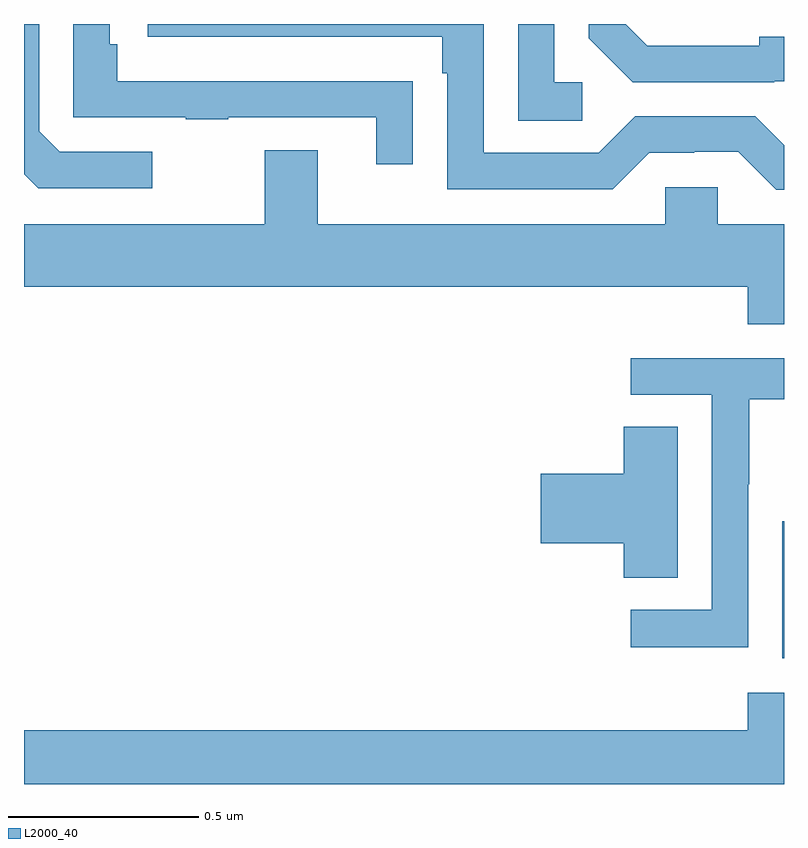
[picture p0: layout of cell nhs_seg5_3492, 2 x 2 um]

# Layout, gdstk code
import gdstk
lib = gdstk.Library(unit=1e-6, precision=1e-09)
def R(c, l, rs):  # rectangles x0, y0, x1, y1
    for r in rs: c.add(gdstk.rectangle(r[:2], r[2:], *l))
def P(c, l, *ps):  # polygons
    for p in ps: c.add(gdstk.Polygon(p, *l))
L2000_40 = (2000, 40)

nhs_seg5_3492 = lib.new_cell('nhs_seg5_3492')
R(nhs_seg5_3492, L2000_40, [(159.995,841.13,160,841.491)])
P(nhs_seg5_3492, L2000_40, [(159.469,842.646),(159.396,842.646),(159.396,842.799),(159.3,842.799),(159.3,842.545),(159.469,842.545)],
  [(159.023,842.648),(158.921,842.648),(158.921,842.649),(158.246,842.649),(158.246,842.746),(158.226,842.746),(158.226,842.799),(158.13,842.799),(158.13,842.553),(158.425,842.553),(158.425,842.548),(158.537,842.548),(158.537,842.553),(158.927,842.553),(158.927,842.43),(159.023,842.43)],
  [(158.338,842.463),(158.094,842.463),(158.04,842.517),(158.04,842.799),(158,842.799),(158,842.404),(158.037,842.367),(158.338,842.367)],
  [(159.974,842.649),(160,842.649),(160,842.765),(159.935,842.765),(159.935,842.742),(159.64,842.742),(159.583,842.799),(159.486,842.799),(159.486,842.762),(159.602,842.646),(159.974,842.646)],
  [(160,842.48),(159.924,842.556),(159.609,842.556),(159.513,842.46),(159.21,842.46),(159.21,842.799),(158.325,842.799),(158.325,842.766),(159.101,842.766),(159.101,842.669),(159.114,842.669),(159.114,842.364),(159.549,842.364),(159.645,842.46),(159.764,842.46),(159.764,842.463),(159.879,842.463),(159.979,842.363),(160,842.363)],
  [(160,842.272),(159.825,842.272),(159.825,842.37),(159.687,842.37),(159.687,842.272),(158.773,842.272),(158.773,842.467),(158.633,842.467),(158.633,842.272),(158,842.272),(158,842.108),(159.905,842.108),(159.905,842.009),(160,842.009)],
  [(159.906,841.588),(159.909,841.588),(159.909,841.812),(160,841.812),(160,841.92),(159.597,841.92),(159.597,841.824),(159.81,841.824),(159.81,841.257),(159.597,841.257),(159.597,841.159),(159.906,841.159)],
  [(159.721,841.739),(159.578,841.739),(159.578,841.616),(159.36,841.616),(159.36,841.433),(159.578,841.433),(159.578,841.342),(159.721,841.342)],
  [(160,841.039),(159.905,841.039),(159.905,840.94),(158,840.94),(158,840.799),(160,840.799)])

lib.write_gds('nhs_seg5_3492.gds')
